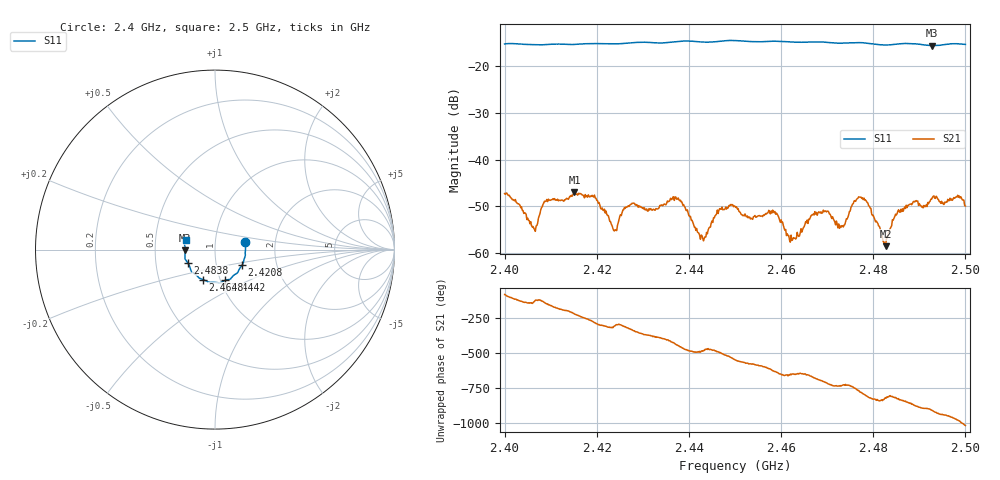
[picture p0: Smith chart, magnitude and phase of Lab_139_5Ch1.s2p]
# Hz S RI R 50
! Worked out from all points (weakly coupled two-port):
!   601 points, 2.4 GHz to 2.5 GHz, reference 50 ohm
!   highest |S21| = -47.02 dB at 2.4152 GHz (marker M1); lowest = -58.5 dB at 2.4827 GHz (marker M2)
!   lowest |S11| = -15.6 dB at 2.4928 GHz (marker M3), VSWR 1.40, Z = 35.8 - j0.354 ohm
!   |S11| at or under -10 dB: start of sweep to end of sweep
!   S12 and S22 are empty: the file has one direction only
!   S11 on the Smith chart (normalised r, x): 2.4 GHz: 1.40, +0.12; 2.4208 GHz: 1.33, -0.24; 2.4442 GHz: 1.05, -0.37; 2.4648 GHz: 0.83, -0.28; 2.4838 GHz: 0.73, -0.11; 2.5 GHz: 0.72, +0.08
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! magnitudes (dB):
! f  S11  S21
! 2.4 GHz  -15.2  -47.3
! 2.4065 GHz  -15.4  -54.9
! 2.409 GHz  -15.4  -48.9
! 2.4152 GHz  -15.4  -47.0
! 2.4167 GHz  -15.2  -47.4
! 2.4208 GHz  -15.2  -50.5
! 2.4238 GHz  -15.2  -55.3
! 2.4277 GHz  -15.0  -49.3
! 2.4333 GHz  -15.0  -50.5
! 2.4375 GHz  -14.7  -48.4
! 2.4442 GHz  -14.9  -55.1
! 2.45 GHz  -14.5  -50.0
! 2.4623 GHz  -14.8  -57.3
! 2.4648 GHz  -14.9  -54.6
! 2.4667 GHz  -14.8  -51.8
! 2.4732 GHz  -15.1  -54.1
! 2.4775 GHz  -15.0  -48.3
! 2.4827 GHz  -15.5  -58.5
! 2.4833 GHz  -15.5  -55.5
! 2.4838 GHz  -15.4  -54.5
! 2.4928 GHz  -15.6  -48.1
! 2.5 GHz  -15.4  -49.9
